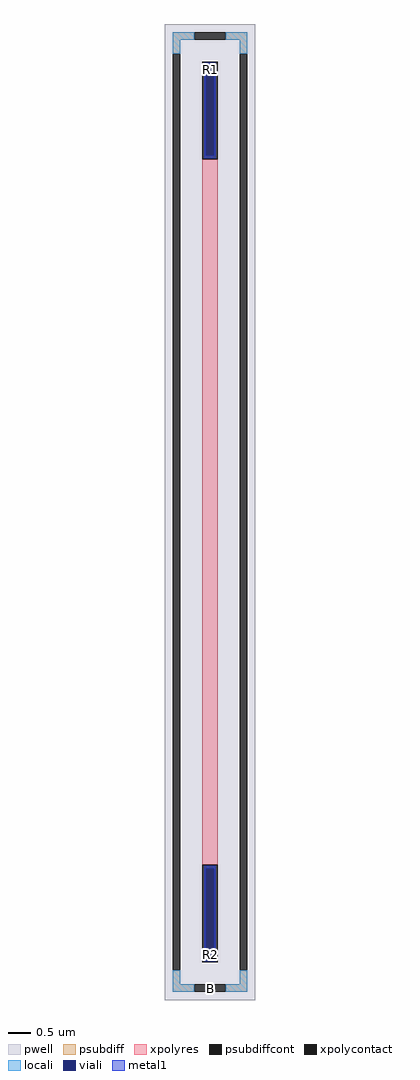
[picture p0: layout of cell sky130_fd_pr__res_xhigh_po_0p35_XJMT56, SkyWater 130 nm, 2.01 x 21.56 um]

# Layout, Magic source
magic
tech sky130A
magscale 1 2
<< pwell >>
rect -201 -2156 201 2156
<< psubdiff >>
rect -165 2086 -69 2120
rect 69 2086 165 2120
rect -165 2024 -131 2086
rect 131 2024 165 2086
rect -165 -2086 -131 -2024
rect 131 -2086 165 -2024
rect -165 -2120 -69 -2086
rect 69 -2120 165 -2086
<< psubdiffcont >>
rect -69 2086 69 2120
rect -165 -2024 -131 2024
rect 131 -2024 165 2024
rect -69 -2120 69 -2086
<< xpolycontact >>
rect -35 1558 35 1990
rect -35 -1990 35 -1558
<< xpolyres >>
rect -35 -1558 35 1558
<< locali >>
rect -165 2086 -69 2120
rect 69 2086 165 2120
rect -165 2024 -131 2086
rect 131 2024 165 2086
rect -165 -2086 -131 -2024
rect 131 -2086 165 -2024
rect -165 -2120 -69 -2086
rect 69 -2120 165 -2086
<< viali >>
rect -19 1575 19 1972
rect -19 -1972 19 -1575
<< metal1 >>
rect -25 1972 25 1984
rect -25 1575 -19 1972
rect 19 1575 25 1972
rect -25 1563 25 1575
rect -25 -1575 25 -1563
rect -25 -1972 -19 -1575
rect 19 -1972 25 -1575
rect -25 -1984 25 -1972
<< labels >>
rlabel psubdiffcont 0 -2103 0 -2103 0 B
port 1 nsew
rlabel xpolycontact 0 1955 0 1955 0 R1
port 2 nsew
rlabel xpolycontact 0 -1955 0 -1955 0 R2
port 3 nsew
<< properties >>
string FIXED_BBOX -148 -2103 148 2103
string gencell sky130_fd_pr__res_xhigh_po_0p35
string library sky130
string parameters w 0.350 l 15.74 m 1 nx 1 wmin 0.350 lmin 0.50 class resistor rho 2000 val 91.018k dummy 0 dw 0.0 term 188.2 sterm 0.0 caplen 0 wmax 0.350 guard 1 glc 1 grc 1 gtc 1 gbc 1 compatible {sky130_fd_pr__res_xhigh_po_0p35  sky130_fd_pr__res_xhigh_po_0p69 sky130_fd_pr__res_xhigh_po_1p41  sky130_fd_pr__res_xhigh_po_2p85 sky130_fd_pr__res_xhigh_po_5p73} snake 0 full_metal 1 n_guard 0 hv_guard 0 vias 1 viagb 0 viagt 0 viagl 0 viagr 0 doports 1
<< end >>
